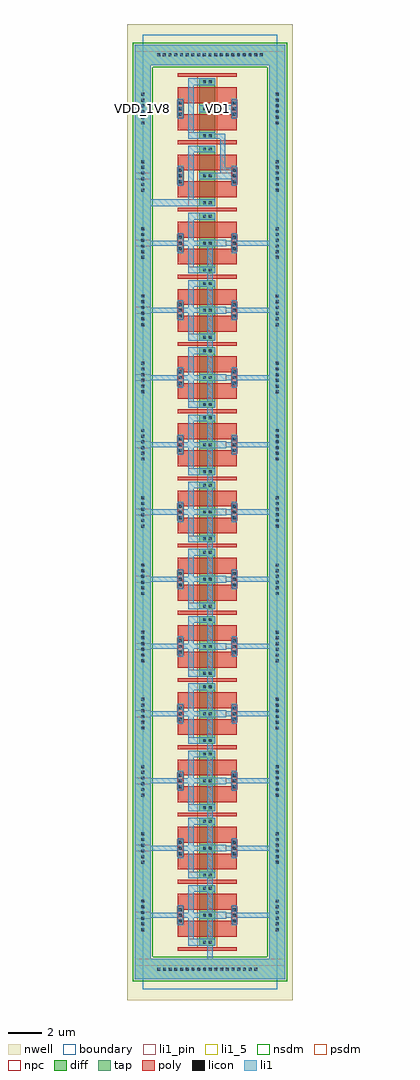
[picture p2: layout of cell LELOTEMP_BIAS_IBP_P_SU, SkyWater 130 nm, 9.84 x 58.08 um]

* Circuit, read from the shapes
.subckt LELOTEMP_BIAS_IBP_P_SU VD1 VDD_1V8
XM1 VDD_1V8 VDD_1V8 VDD_1V8 VDD_1V8 sky130_fd_pr__pfet_01v8 w=0.96 l=0.94 m=22
XM2 REYATR_PCH_2C5F0D_14/D REYATR_PCH_2C5F0D_14/D VDD_1V8 VDD_1V8 sky130_fd_pr__pfet_01v8 w=0.96 l=0.94 m=2
XM3 VD1 VD1 REYATR_PCH_2C5F0D_14/D VDD_1V8 sky130_fd_pr__pfet_01v8 w=0.96 l=0.94 m=2
.ends

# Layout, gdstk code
import gdstk
lib = gdstk.Library(unit=1e-6, precision=1e-09)
def R(c, l, rs):  # rectangles x0, y0, x1, y1
    for r in rs: c.add(gdstk.rectangle(r[:2], r[2:], *l))
def A(c, l, x, y, w, h, nx, ny, dx, dy):  # array of equal rectangles
    R(c, l, [(x+i*dx, y+j*dy, x+i*dx+w, y+j*dy+h) for i in range(nx) for j in range(ny)])
nwell = (64, 20)
diff = (65, 20)
tap = (65, 44)
poly = (66, 20)
licon = (66, 44)
li1_5 = (67, 5)
li1_pin = (67, 16)
li1 = (67, 20)
nsdm = (93, 44)
psdm = (94, 20)
npc = (95, 20)
boundary = (235, 4)

reyatr_pch_2ctaptop = lib.new_cell('REYATR_PCH_2CTAPTOP')
R(reyatr_pch_2ctaptop, nwell, [(-0.92,-0.64,8.92,3.04)])
R(reyatr_pch_2ctaptop, tap, [(-0.48,-0.2,0.48,0.6), (7.52,-0.2,8.48,0.6), (-0.48,0.6,8.48,1.8)])
A(reyatr_pch_2ctaptop, licon, 0.855, 1.115, 0.17, 0.17, 19, 1, 0.34, 0)
R(reyatr_pch_2ctaptop, li1_5, [(-0.48,1.4,8.48,1.8)])
R(reyatr_pch_2ctaptop, li1, [(-0.48,-0.2,0.48,0.6), (7.52,-0.2,8.48,0.6), (-0.48,0.6,8.48,1.8)])
R(reyatr_pch_2ctaptop, nsdm, [(-0.605,-0.325,0.605,0.475), (7.395,-0.325,8.605,0.475), (-0.605,0.475,8.605,1.925)])
R(reyatr_pch_2ctaptop, boundary, [(0,0,8,2.4)])
reyatr_pch_2ctaptop.add(gdstk.Label('B', (4,1.6), layer=67, texttype=5))

reyatr_pch_2ctapbot = lib.new_cell('REYATR_PCH_2CTAPBOT')
R(reyatr_pch_2ctapbot, nwell, [(-0.92,-0.64,8.92,3.04)])
R(reyatr_pch_2ctapbot, tap, [(-0.48,0.6,8.48,1.8), (-0.48,1.8,0.48,2.6), (7.52,1.8,8.48,2.6)])
A(reyatr_pch_2ctapbot, licon, 0.865, 1.115, 0.17, 0.17, 18, 1, 0.34, 0)
R(reyatr_pch_2ctapbot, li1_5, [(-0.48,1.4,8.48,1.8)])
R(reyatr_pch_2ctapbot, li1, [(-0.48,0.6,8.48,1.8), (-0.48,1.8,0.48,2.6), (7.52,1.8,8.48,2.6)])
R(reyatr_pch_2ctapbot, nsdm, [(-0.605,0.475,8.605,1.925), (-0.605,1.925,0.605,2.725), (7.395,1.925,8.605,2.725)])
R(reyatr_pch_2ctapbot, boundary, [(0,0,8,2.4)])
reyatr_pch_2ctapbot.add(gdstk.Label('B', (4,1.6), layer=67, texttype=5))

reyatr_pch_2c5f0 = lib.new_cell('REYATR_PCH_2C5F0')
R(reyatr_pch_2c5f0, nwell, [(-0.92,-0.64,8.92,4.64)])
R(reyatr_pch_2c5f0, diff, [(3.36,0.2,4.32,3.8)])
R(reyatr_pch_2c5f0, tap, [(-0.48,-0.2,0.48,4.2), (7.52,-0.2,8.48,4.2)])
R(reyatr_pch_2c5f0, poly, [(2.08,-0.11,5.6,0.11), (2.08,0.73,5.6,1.67), (2.08,1.67,2.4,2.33), (5.28,1.67,5.6,2.33), (2.08,2.33,5.6,3.27), (2.08,3.89,5.6,4.11)])
A(reyatr_pch_2c5f0, licon, 3.585, 0.315, 0.17, 0.17, 1, 3, 0, 1.6)
A(reyatr_pch_2c5f0, licon, 3.925, 0.315, 0.17, 0.17, 1, 3, 0, 1.6)
A(reyatr_pch_2c5f0, licon, -0.085, 1.065, 0.17, 0.17, 1, 6, 0, 0.34)
A(reyatr_pch_2c5f0, licon, 7.915, 1.065, 0.17, 0.17, 1, 6, 0, 0.34)
A(reyatr_pch_2c5f0, licon, 2.155, 1.575, 0.17, 0.17, 1, 3, 0, 0.34)
A(reyatr_pch_2c5f0, licon, 5.355, 1.575, 0.17, 0.17, 1, 3, 0, 0.34)
R(reyatr_pch_2c5f0, li1_pin, [(2.72,0.2,4.32,0.6), (-0.48,1.8,0.48,2.2), (3.36,1.8,4.96,2.2), (5.28,2.2,5.6,2.6)])
R(reyatr_pch_2c5f0, li1, [(-0.48,-0.2,0.48,4.2), (7.52,-0.2,8.48,4.2), (2.72,0.2,4.32,0.6), (2.72,0.6,3.04,3.4), (2.08,1.4,2.4,2.6), (5.28,1.4,5.6,2.6), (3.36,1.8,4.96,2.2), (2.72,3.4,4.32,3.8)])
R(reyatr_pch_2c5f0, nsdm, [(-0.605,-0.325,0.605,4.325), (7.395,-0.325,8.605,4.325)])
R(reyatr_pch_2c5f0, psdm, [(3.235,0.075,4.445,3.925)])
R(reyatr_pch_2c5f0, npc, [(2.055,1.475,2.425,2.525), (5.255,1.475,5.625,2.525)])
R(reyatr_pch_2c5f0, boundary, [(0,0,8,4)])
reyatr_pch_2c5f0.add(gdstk.Label('D', (4.16,2), layer=67, texttype=5))
reyatr_pch_2c5f0.add(gdstk.Label('G', (5.44,2.4), layer=67, texttype=5))
reyatr_pch_2c5f0.add(gdstk.Label('S', (3.52,0.4), layer=67, texttype=5))
reyatr_pch_2c5f0.add(gdstk.Label('B', (0,2), layer=67, texttype=5))

reyatr_pch_2c5f0d = lib.new_cell('REYATR_PCH_2C5F0D')
R(reyatr_pch_2c5f0d, nwell, [(-0.92,-0.64,8.92,4.64)])
R(reyatr_pch_2c5f0d, diff, [(3.36,0.2,4.32,3.8)])
R(reyatr_pch_2c5f0d, tap, [(-0.48,-0.2,0.48,4.2), (7.52,-0.2,8.48,4.2)])
R(reyatr_pch_2c5f0d, poly, [(2.08,-0.11,5.6,0.11), (2.08,0.73,5.6,1.67), (2.08,1.67,2.4,2.33), (5.28,1.67,5.6,2.33), (2.08,2.33,5.6,3.27), (2.08,3.89,5.6,4.11)])
A(reyatr_pch_2c5f0d, licon, 3.585, 0.315, 0.17, 0.17, 1, 3, 0, 1.6)
A(reyatr_pch_2c5f0d, licon, 3.925, 0.315, 0.17, 0.17, 1, 3, 0, 1.6)
A(reyatr_pch_2c5f0d, licon, -0.085, 1.065, 0.17, 0.17, 1, 6, 0, 0.34)
A(reyatr_pch_2c5f0d, licon, 7.915, 1.065, 0.17, 0.17, 1, 6, 0, 0.34)
A(reyatr_pch_2c5f0d, licon, 2.155, 1.575, 0.17, 0.17, 1, 3, 0, 0.34)
A(reyatr_pch_2c5f0d, licon, 5.355, 1.575, 0.17, 0.17, 1, 3, 0, 0.34)
R(reyatr_pch_2c5f0d, li1_pin, [(2.72,0.2,4.32,0.6), (-0.48,1.8,0.48,2.2), (3.36,1.8,5.6,2.2), (5.28,2.2,5.6,2.6)])
R(reyatr_pch_2c5f0d, li1, [(-0.48,-0.2,0.48,4.2), (7.52,-0.2,8.48,4.2), (2.72,0.2,4.32,0.6), (2.72,0.6,3.04,3.4), (2.08,1.4,2.4,2.6), (5.28,1.4,5.6,1.8), (3.36,1.8,5.6,2.2), (5.28,2.2,5.6,2.6), (2.72,3.4,4.32,3.8)])
R(reyatr_pch_2c5f0d, nsdm, [(-0.605,-0.325,0.605,4.325), (7.395,-0.325,8.605,4.325)])
R(reyatr_pch_2c5f0d, psdm, [(3.235,0.075,4.445,3.925)])
R(reyatr_pch_2c5f0d, npc, [(2.055,1.475,2.425,2.525), (5.255,1.475,5.625,2.525)])
R(reyatr_pch_2c5f0d, boundary, [(0,0,8,4)])
reyatr_pch_2c5f0d.add(gdstk.Label('D', (4.48,2), layer=67, texttype=5))
reyatr_pch_2c5f0d.add(gdstk.Label('G', (5.44,2.4), layer=67, texttype=5))
reyatr_pch_2c5f0d.add(gdstk.Label('S', (3.52,0.4), layer=67, texttype=5))
reyatr_pch_2c5f0d.add(gdstk.Label('B', (0,2), layer=67, texttype=5))

lelotemp_bias_ibp_p_su = lib.new_cell('LELOTEMP_BIAS_IBP_P_SU')
R(lelotemp_bias_ibp_p_su, li1_pin, [(-0.48,52.2,0.48,52.6), (3.36,52.2,5.6,52.6)])
A(lelotemp_bias_ibp_p_su, li1, 0, 4.25, 8, 0.3, 1, 11, 0, 4)
A(lelotemp_bias_ibp_p_su, li1, 3.85, 4.55, 0.3, 3.7, 1, 10, 0, 4)
R(lelotemp_bias_ibp_p_su, li1, [(3.85,1.2,4.15,4.25), (0,46.6,3.52,47), (4.48,48.2,4.92,48.5), (4.62,48.5,4.92,48.6), (4.62,48.6,5.44,48.9), (4.62,48.9,4.92,50.6), (3.52,50.6,4.92,50.9), (-0.48,52.2,0.48,52.6), (3.36,52.2,5.6,52.6)])
A(lelotemp_bias_ibp_p_su, psdm, 3.235, 6.325, 1.21, 0.15, 1, 12, 0, 4)
R(lelotemp_bias_ibp_p_su, boundary, [(0,0,8,56.8)])
lelotemp_bias_ibp_p_su.add(gdstk.Reference(reyatr_pch_2ctaptop, (0,54.4)))
lelotemp_bias_ibp_p_su.add(gdstk.Reference(reyatr_pch_2ctapbot, (0,0)))
lelotemp_bias_ibp_p_su.add(gdstk.Reference(reyatr_pch_2c5f0, (0,2.4)))
lelotemp_bias_ibp_p_su.add(gdstk.Reference(reyatr_pch_2c5f0, (0,6.4)))
lelotemp_bias_ibp_p_su.add(gdstk.Reference(reyatr_pch_2c5f0, (0,10.4)))
lelotemp_bias_ibp_p_su.add(gdstk.Reference(reyatr_pch_2c5f0, (0,14.4)))
lelotemp_bias_ibp_p_su.add(gdstk.Reference(reyatr_pch_2c5f0, (0,18.4)))
lelotemp_bias_ibp_p_su.add(gdstk.Reference(reyatr_pch_2c5f0, (0,22.4)))
lelotemp_bias_ibp_p_su.add(gdstk.Reference(reyatr_pch_2c5f0, (0,26.4)))
lelotemp_bias_ibp_p_su.add(gdstk.Reference(reyatr_pch_2c5f0, (0,30.4)))
lelotemp_bias_ibp_p_su.add(gdstk.Reference(reyatr_pch_2c5f0, (0,34.4)))
lelotemp_bias_ibp_p_su.add(gdstk.Reference(reyatr_pch_2c5f0, (0,38.4)))
lelotemp_bias_ibp_p_su.add(gdstk.Reference(reyatr_pch_2c5f0, (0,42.4)))
lelotemp_bias_ibp_p_su.add(gdstk.Reference(reyatr_pch_2c5f0d, (0,50.4)))
lelotemp_bias_ibp_p_su.add(gdstk.Reference(reyatr_pch_2c5f0d, (0,46.4)))
lelotemp_bias_ibp_p_su.add(gdstk.Label('VD1', (4.48,52.4), layer=67, texttype=5))
lelotemp_bias_ibp_p_su.add(gdstk.Label('VDD_1V8', (0,52.4), layer=67, texttype=5))

lib.write_gds('LELOTEMP_BIAS_IBP_P_SU.gds')
